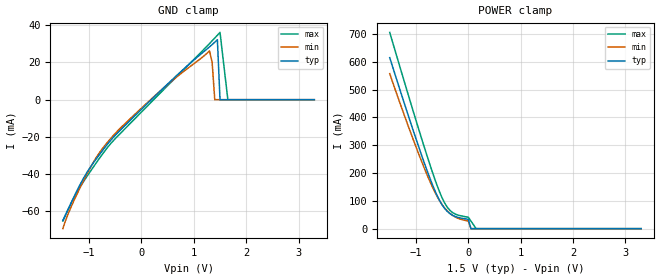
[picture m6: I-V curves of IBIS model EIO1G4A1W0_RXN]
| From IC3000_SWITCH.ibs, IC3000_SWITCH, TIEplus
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|   Model EIO1G4A1W0_RXN
[Model]   EIO1G4A1W0_RXN
Model_type   Input
Polarity   Inverting
Vinl =  -0.6000V
Vinh =   0.6000V
C_comp   1.6030pF   1.6370pF   1.5940pF
[Model Spec]
|   typ   min   max
Vinh   0.5V   0.175V   0.6V
Vinl   -0.5V   -0.175V   -0.6V
[Temperature Range]   25.0000   0.1250k   -40.0000
[Voltage Range]   1.5000V   1.3500V   1.6500V
[GND_clamp]
| voltage   I(typ)   I(min)   I(max)
-1.5V     -64.97mA   -69.31mA   -65.2mA
-1.15V    -44.52mA   -46.11mA   -45.96mA
-750mV    -27.56mA   -26.49mA   -29.48mA
-400mV    -16.25mA   -15.22mA   -18.06mA
600mV     11.08mA    10.55mA    10.36mA
1.3V      28.4mA     26.23mA    30.18mA
1.35V     29.62mA    20mA       31.65mA
1.4V      30.89mA    0A         33.14mA
1.45V     32.23mA    0A         34.64mA
1.5V      0A         0A         36.17mA
1.65V     0A         0A         0A
3.3V      0A         0A         0A
[POWER_clamp]
| voltage   I(typ)   I(min)   I(max)
-1.5V     614.8mA    557.3mA    705.7mA
-1.05V    352.1mA    319.7mA    421.1mA
-850mV    241.7mA    222.3mA    299mA
-700mV    165.3mA    156mA      211.5mA
-600mV    120.8mA    117.7mA    157.4mA
-500mV    85.49mA    86.52mA    110.5mA
-400mV    61.9mA     63.55mA    76.75mA
-300mV    47.91mA    47.78mA    57.85mA
0V        33.62mA    27.69mA    41.02mA
50mV      0A         0A         27.35mA
150mV     0A         0A         0A
3.3V      0A         0A         0A
